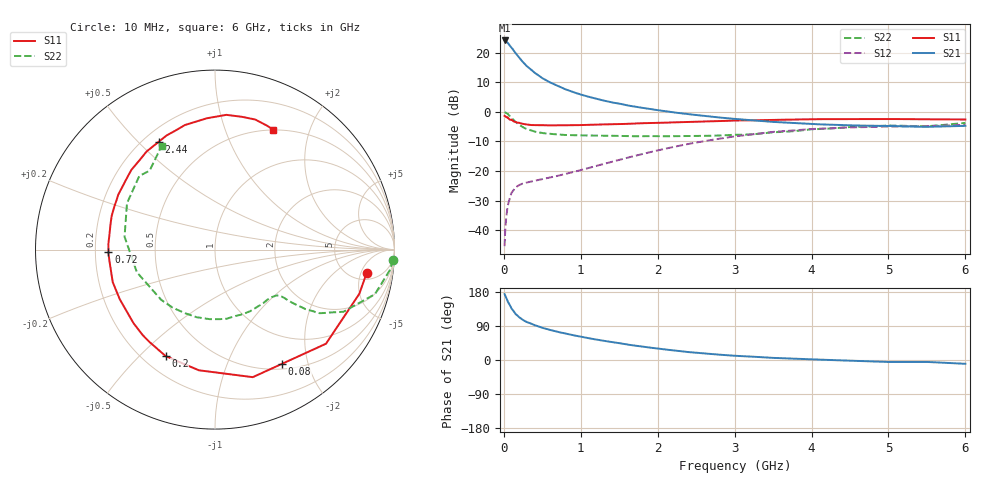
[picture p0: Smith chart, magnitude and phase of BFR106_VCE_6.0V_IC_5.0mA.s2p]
! Infineon Technologies  Discrete & RF Semiconductors
! BFR106
! VCE =  6.0 V,  IC =  5.0 mA
! Common Emitter S-Parameters:  Nov 2015
# GHz  S  MA  R  50
!  f  S11  S21  S12  S22
! GHz  MAG  ANG  MAG  ANG  MAG  ANG  MAG  ANG
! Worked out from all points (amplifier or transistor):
!   210 points, 10 MHz to 6 GHz, reference 50 ohm
!   highest |S21| = 24.1 dB at 10 MHz (marker M1)
!   |S21| within 3 dB of that: start of sweep to 117 MHz
!   unconditionally stable (mu >= 1): 623.6 MHz to 1.869 GHz; 4.923 GHz to end of sweep
!   at 185 MHz: K = 0.38, MSG = 21.9 dB, |S12| = -25.0 dB
!   at 1.52 GHz: K = 1.10, MAG = 7.5 dB, |S12| = -16.1 dB
!   at 6 GHz: K = 1.02, MAG = -1.0 dB, |S12| = -4.4 dB
!   S11 on the Smith chart (normalised r, x): 10 MHz: 6.61, -6.35; 80 MHz: 0.57, -1.60; 200 MHz: 0.29, -0.60; 720 MHz: 0.26, -0.01; 2.44 GHz: 0.26, +0.58; 6 GHz: 0.50, +1.48
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0.01  0.8549 -8.7  16.06 173.8  0.0054 88.3  0.9936 -3.3
0.02  0.8411 -17.0  15.93 169.4  0.011 83.1  0.9809 -6.7
0.05  0.8108 -40.3  14.66 154.4  0.0257 69.9  0.9248 -15.6
0.08  0.7378 -59.6  13.03 144.1  0.0358 59.5  0.8439 -21.3
0.1  0.7412 -73.5  12.23 135.8  0.0429 55.3  0.7954 -25.8
0.15  0.6784 -97.6  9.903 121.6  0.0525 46.8  0.682 -31.3
0.2  0.6539 -114.9  8.189 112.7  0.0582 42.8  0.6052 -33.3
0.24  0.6308 -125.5  7.116 106.9  0.0612 40.5  0.5589 -34.0
0.26  0.6239 -130.2  6.663 104.3  0.0624 39.9  0.54 -34.3
0.3  0.6118 -137.9  5.89 100.0  0.0641 39.8  0.5106 -34.7
0.4  0.5984 -152.5  4.58 91.8  0.0687 40.4  0.4625 -35.0
0.5  0.5979 -162.4  3.71 84.9  0.073 42.4  0.4387 -35.6
0.6  0.5913 -171.1  3.146 79.3  0.0781 45.4  0.4255 -37.1
0.72  0.5936 -178.8  2.668 73.4  0.0844 49.3  0.4139 -39.6
1.02  0.5998 165.7  1.927 60.7  0.1055 57.1  0.4015 -47.4
1.4  0.6198 150.5  1.448 47.5  0.1428 63.4  0.3953 -60.2
2.02  0.6519 130.1  1.06 29.8  0.2266 63.6  0.3884 -86.1
2.44  0.6777 117.6  0.903 20.2  0.2938 59.3  0.3898 -107.1
3.1  0.7159 101.5  0.743 10.2  0.3987 48.1  0.411 -142.6
4.1  0.7529 83.9  0.616 1.0  0.5188 28.0  0.5129 167.7
5.1  0.7561 71.7  0.574 -5.2  0.5672 10.9  0.5843 134.6
6  0.7434 64.0  0.58 -10.0  0.6039 -0.6  0.6513 117.1
